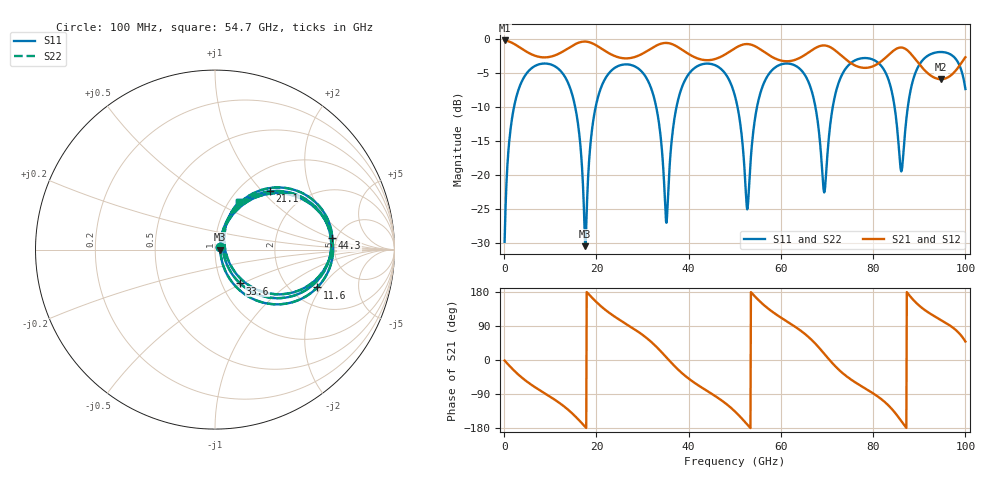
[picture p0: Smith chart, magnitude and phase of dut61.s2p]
! Touchstone file exported from HFSS 2026.1.0
!  File:  C:/ffzhzh/LocalFiles/Ansys_Project_Files/temp_train_TSV_RDL_61_1783623978_29156.aedt
!  Generated:  03:16:36 AM Jul 10, 2026
!  Design:  TSV_RDL
!  Project:  temp_train_TSV_RDL_61_1783623978_29156
! Variables:
!  h_bsmrdl = 2.07um
!  h_ox = 20um
!  h_rdl = 5um
!  h_sub = 99.5um
!  h_tmrdl = 2.93um
!  h_tsv = 99.5um
!  h_via = 3um
!  l_bsmrdl = 368.11um
!  l_sub = 3128.38um
!  l_tmrdl = 384.33um
!  m_sub = 200um
!  pitch = 57.88um
!  r_tsv = 6.89um
!  s_tmrdl = 10um
!  w_bsmrdl = 14.43um
!  w_sub = 500um
!  w_tmrdl = 14.48um
!  x_tsv_center1 = 391.57um
!  x_tsv_center2 = 774.11um
!  x_tsv_center3 = 1172.92um
!  x_tsv_center4 = 1555.46um
!  x_tsv_center5 = 1954.27um
!  x_tsv_center6 = 2336.81um
# GHz S MA R 50.000000
! Terminal data exported
! Port[1] = TM_RDL1_1_T1
! Port[2] = TM_RDL5_1_T1
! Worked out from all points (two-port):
!   1000 points, 100 MHz to 100 GHz, reference 50 ohm
!   highest |S21| = -0.24 dB at 100 MHz (marker M1); lowest = -5.9 dB at 94.7 GHz (marker M2)
!   |S21| within 3 dB of the highest: start of sweep to 60.31 GHz; 62.27 GHz to 74.46 GHz (12.19 GHz wide, 17.8 % of centre) (the widest 2 of 4)
!   lowest |S11| = -30.5 dB at 17.6 GHz (marker M3), VSWR 1.06, Z = 53.1 + j0.0329 ohm
!   |S11| at or under -10 dB: 15.39 GHz to 19.85 GHz (4.457 GHz wide, 25.3 % of centre); 32.96 GHz to 37.38 GHz (4.417 GHz wide, 12.6 % of centre); 50.58 GHz to 54.83 GHz (4.251 GHz wide, 8.06 % of centre) (the widest 3 of 6)
!   |S22| runs from -30.5 to -1.9 dB; largest |S21 - S12| = 1.5e-12
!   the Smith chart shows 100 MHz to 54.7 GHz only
!   S11 on the Smith chart (normalised r, x): 100 MHz: 1.06, +0.03; 11.6 GHz: 2.75, -1.84; 21.1 GHz: 1.36, +1.10; 33.6 GHz: 1.22, -0.49; 44.3 GHz: 4.58, +1.04; 54.7 GHz: 1.11, +0.65
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0.1  0.03201 29.8  0.9725 -1.4  0.9725 -1.4  0.03201 29.8
! Gamma 0 0 0 0
! Port Impedance 50 0 50 0
3.2  0.4303 46.2  0.8723 -39.8  0.8723 -39.8  0.4303 46.2
11.6  0.6076 -20.3  0.7696 -110.0  0.7696 -110.0  0.6076 -20.3
16.8  0.1255 -64.0  0.9498 -166.1  0.9498 -166.1  0.1254 -64.0
17.6  0.02972 0.6  0.9545 -176.7  0.9545 -176.7  0.0297 0.7
21.1  0.4454 46.8  0.8469 140.8  0.8469 140.8  0.4455 46.8
27.2  0.6451 -1.1  0.7204 89.4  0.7204 89.4  0.6452 -1.1
33.4  0.2613 -52.1  0.9047 30.1  0.9047 30.1  0.2614 -52.0
33.6  0.2351 -53.4  0.9106 27.5  0.9106 27.5  0.2351 -53.4
35.2  0.04419 11.7  0.9324 6.6  0.9324 6.6  0.04429 11.7
38.1  0.397 54.3  0.8511 -29.7  0.8511 -29.7  0.397 54.3
44.3  0.6567 5.6  0.6964 -83.9  0.6964 -83.9  0.6567 5.7
50.1  0.373 -40.3  0.8543 -136.5  0.8543 -136.5  0.3733 -40.1
52.7  0.05551 7.5  0.9152 -170.1  0.9152 -170.1  0.0565 7.4
54.7  0.2995 63.2  0.8711 163.5  0.8711 163.5  0.2995 63.1
66.7  0.4102 -30.1  0.8234 52.7  0.8234 52.7  0.4104 -29.9
69.4  0.07389 15.4  0.8941 16.5  0.8941 16.5  0.07521 15.4
73.8  0.5869 46.1  0.7176 -38.9  0.7176 -38.9  0.5869 46.0
83.4  0.4917 -22.9  0.7641 -120.9  0.7641 -120.9  0.4917 -22.8
86.1  0.1055 15.8  0.8629 -161.0  0.8629 -161.0  0.1056 15.8
94.7  0.7996 15.3  0.5044 105.6  0.5044 105.6  0.7994 15.3
100  0.4269 -20.4  0.7313 48.8  0.7313 48.8  0.4257 -20.6
